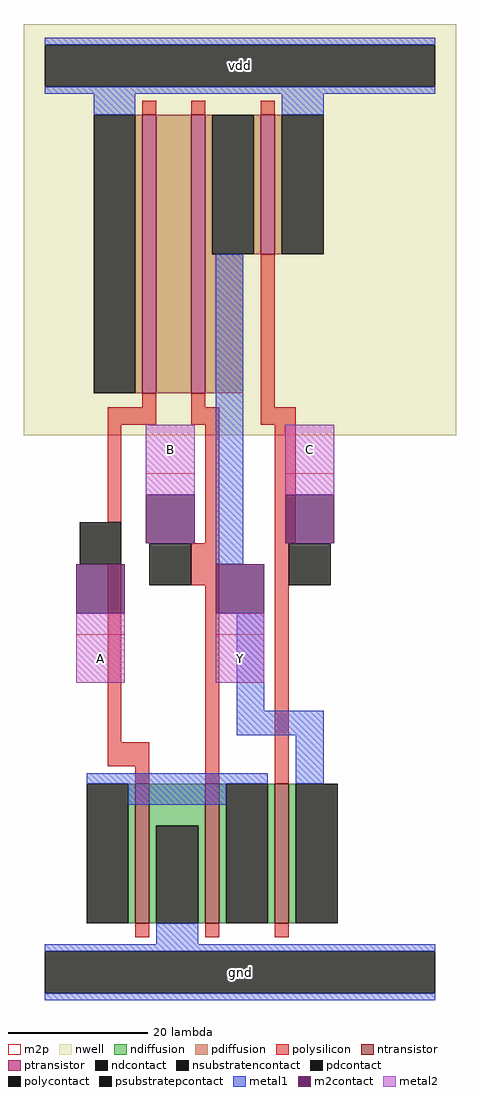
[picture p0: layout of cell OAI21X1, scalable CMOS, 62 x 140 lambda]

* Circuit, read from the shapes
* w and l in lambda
.subckt OAI21X1 A B C Y vdd gnd
M1 gnd A n1 gnd nfet w=20 l=2
M2 n1 B gnd gnd nfet w=20 l=2
M3 Y C n1 gnd nfet w=20 l=2
M4 n2 A vdd vdd pfet w=40 l=2
M5 Y B n2 vdd pfet w=40 l=2
M6 vdd C Y vdd pfet w=20 l=2
.ends

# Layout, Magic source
magic
tech scmos
magscale 1 2
<< nwell >>
rect -12 154 112 272
<< ntransistor >>
rect 20 14 24 54
rect 40 14 44 54
rect 60 14 64 54
<< ptransistor >>
rect 22 166 26 246
rect 36 166 40 246
rect 56 206 60 246
<< ndiffusion >>
rect 18 14 20 54
rect 24 42 40 54
rect 24 14 26 42
rect 38 14 40 42
rect 44 14 46 54
rect 58 14 60 54
rect 64 14 66 54
<< pdiffusion >>
rect 20 166 22 246
rect 26 166 36 246
rect 40 206 42 246
rect 54 206 56 246
rect 60 206 62 246
rect 40 166 51 206
<< ndcontact >>
rect 6 14 18 54
rect 26 14 38 42
rect 46 14 58 54
rect 66 14 78 54
<< pdcontact >>
rect 8 166 20 246
rect 42 206 54 246
rect 62 206 74 246
<< psubstratepcontact >>
rect -6 -6 106 6
<< nsubstratencontact >>
rect -6 254 106 266
<< polysilicon >>
rect 22 246 26 250
rect 36 246 40 250
rect 56 246 60 250
rect 22 162 26 166
rect 12 157 26 162
rect 36 162 40 166
rect 56 162 60 206
rect 36 157 44 162
rect 56 157 66 162
rect 12 129 16 157
rect 40 123 44 157
rect 12 66 16 117
rect 36 111 44 123
rect 12 59 24 66
rect 20 54 24 59
rect 40 54 44 111
rect 60 123 66 157
rect 60 54 64 123
rect 20 10 24 14
rect 40 10 44 14
rect 60 10 64 14
<< polycontact >>
rect 4 117 16 129
rect 24 111 36 123
rect 64 111 76 123
<< metal1 >>
rect -6 266 106 268
rect -6 252 106 254
rect 8 246 20 252
rect 62 246 74 252
rect 43 117 51 206
rect 49 75 57 103
rect 49 68 74 75
rect 6 54 58 57
rect 18 48 46 54
rect 66 54 74 68
rect 26 8 38 14
rect -6 6 106 8
rect -6 -8 106 -6
<< m2contact >>
rect 23 123 37 137
rect 3 103 17 117
rect 63 123 77 137
rect 43 103 57 117
<< metal2 >>
rect 23 137 37 157
rect 63 137 77 157
rect 3 83 17 103
rect 43 83 57 103
<< m2p >>
rect 23 143 37 157
rect 63 143 77 157
rect 3 83 17 97
rect 43 83 57 97
<< labels >>
rlabel metal2 3 83 17 97 0 A
port 0 nsew signal input
rlabel metal2 23 143 37 157 0 B
port 1 nsew signal input
rlabel metal2 63 143 77 157 0 C
port 2 nsew signal input
rlabel metal2 43 83 57 97 0 Y
port 3 nsew signal output
rlabel metal1 -6 252 106 268 0 vdd
port 4 nsew power bidirectional abutment
rlabel metal1 -6 -8 106 8 0 gnd
port 5 nsew ground bidirectional abutment
<< properties >>
string FIXED_BBOX 0 0 100 260
string LEFclass CORE
string LEFsite core
string LEFsymmetry X Y
<< end >>
